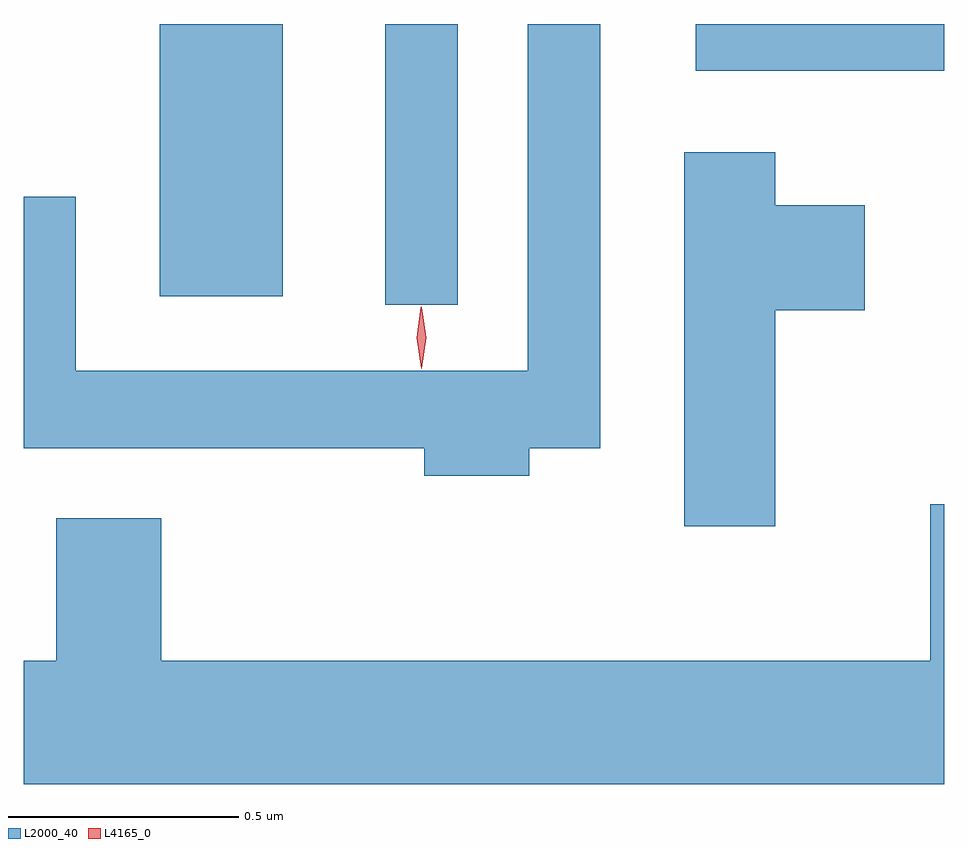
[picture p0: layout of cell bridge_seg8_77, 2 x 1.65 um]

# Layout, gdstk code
import gdstk
lib = gdstk.Library(unit=1e-6, precision=1e-09)
def R(c, l, rs):  # rectangles x0, y0, x1, y1
    for r in rs: c.add(gdstk.rectangle(r[:2], r[2:], *l))
def P(c, l, *ps):  # polygons
    for p in ps: c.add(gdstk.Polygon(p, *l))
L2000_40 = (2000, 40)
L4165_0 = (4165, 0)

bridge_seg8_77 = lib.new_cell('bridge_seg8_77')
R(bridge_seg8_77, L2000_40, [(1598.076,1815.258,1598.234,1815.868), (1597.586,1815.276,1597.854,1815.868), (1598.751,1815.766,1599.291,1815.868)])
P(bridge_seg8_77, L2000_40, [(1598.389,1814.946),(1598.544,1814.946),(1598.544,1815.868),(1598.386,1815.868),(1598.386,1815.114),(1597.404,1815.114),(1597.404,1815.493),(1597.291,1815.493),(1597.291,1814.946),(1598.161,1814.946),(1598.161,1814.886),(1598.389,1814.886)],
  [(1598.924,1815.246),(1599.119,1815.246),(1599.119,1815.474),(1598.924,1815.474),(1598.924,1815.589),(1598.726,1815.589),(1598.726,1814.776),(1598.924,1814.776)],
  [(1599.291,1814.824),(1599.261,1814.824),(1599.261,1814.484),(1597.589,1814.484),(1597.589,1814.794),(1597.361,1814.794),(1597.361,1814.484),(1597.291,1814.484),(1597.291,1814.216),(1599.291,1814.216)])
P(bridge_seg8_77, L4165_0, [(1598.156,1815.119),(1598.155,1815.12),(1598.145,1815.186),(1598.154,1815.252),(1598.155,1815.253),(1598.156,1815.252),(1598.165,1815.186),(1598.156,1815.12)])

lib.write_gds('bridge_seg8_77.gds')
